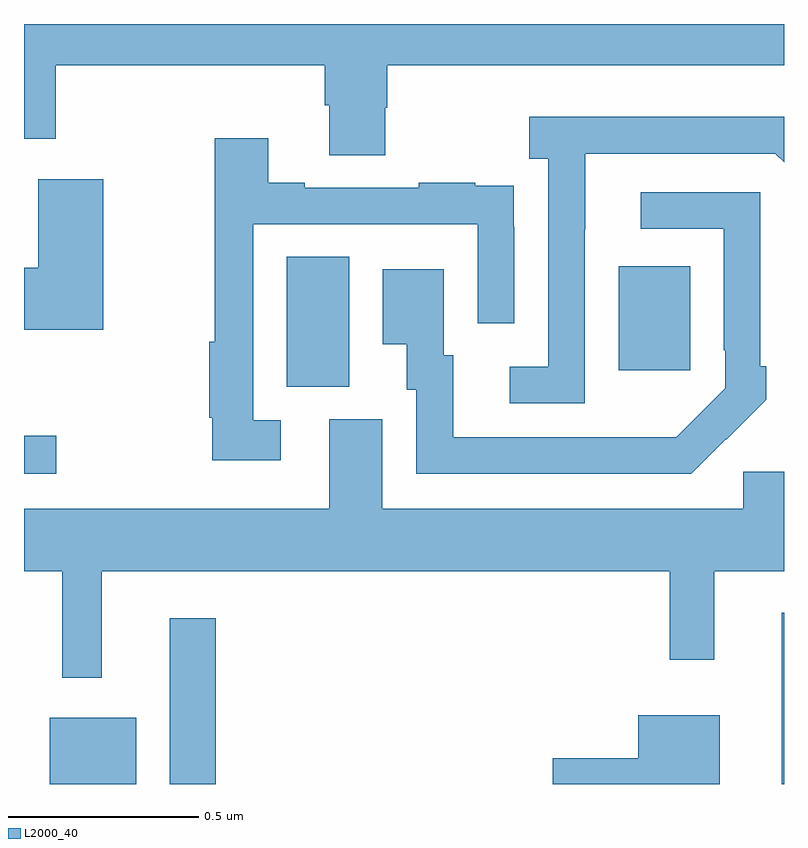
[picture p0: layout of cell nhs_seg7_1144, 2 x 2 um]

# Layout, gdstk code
import gdstk
lib = gdstk.Library(unit=1e-6, precision=1e-09)
def R(c, l, rs):  # rectangles x0, y0, x1, y1
    for r in rs: c.add(gdstk.rectangle(r[:2], r[2:], *l))
def P(c, l, *ps):  # polygons
    for p in ps: c.add(gdstk.Polygon(p, *l))
L2000_40 = (2000, 40)

nhs_seg7_1144 = lib.new_cell('nhs_seg7_1144')
R(nhs_seg7_1144, L2000_40, [(126.068,1056,126.295,1056.175), (126.383,1056,126.505,1056.436), (127.994,1056,128,1056.451), (126,1056.816,126.085,1056.917), (126.692,1057.045,126.856,1057.388), (127.565,1057.089,127.753,1057.363)])
P(nhs_seg7_1144, L2000_40, [(126.951,1057.779),(126.956,1057.779),(126.956,1057.892),(128,1057.892),(128,1058),(126,1058),(126,1057.698),(126.084,1057.698),(126.084,1057.892),(126.791,1057.892),(126.791,1057.786),(126.803,1057.786),(126.803,1057.654),(126.951,1057.654)],
  [(127.476,1057.459),(127.477,1057.459),(127.477,1057.659),(127.977,1057.659),(128,1057.636),(128,1057.756),(127.329,1057.756),(127.329,1057.646),(127.38,1057.646),(127.38,1057.098),(127.278,1057.098),(127.278,1057.002),(127.476,1057.002)],
  [(126.676,1056.957),(126.603,1056.957),(126.603,1057.473),(127.194,1057.473),(127.194,1057.212),(127.29,1057.212),(127.29,1057.466),(127.289,1057.466),(127.289,1057.575),(127.187,1057.575),(127.187,1057.582),(127.039,1057.582),(127.039,1057.569),(126.739,1057.569),(126.739,1057.582),(126.643,1057.582),(126.643,1057.699),(126.502,1057.699),(126.502,1057.164),(126.487,1057.164),(126.487,1056.964),(126.495,1056.964),(126.495,1056.852),(126.676,1056.852)],
  [(126.208,1057.591),(126.038,1057.591),(126.038,1057.359),(126,1057.359),(126,1057.196),(126.208,1057.196)],
  [(127.847,1056.907),(127.848,1056.906),(127.953,1057.011),(127.953,1057.099),(127.938,1057.099),(127.938,1057.557),(127.623,1057.557),(127.623,1057.461),(127.842,1057.461),(127.842,1057.141),(127.845,1057.141),(127.845,1057.041),(127.717,1056.913),(127.613,1056.913),(127.613,1056.912),(127.129,1056.912),(127.129,1057.128),(127.105,1057.128),(127.105,1057.354),(126.944,1057.354),(126.944,1057.157),(127.007,1057.157),(127.007,1057.038),(127.032,1057.038),(127.032,1056.816),(127.756,1056.816)],
  [(126.943,1056.96),(126.803,1056.96),(126.803,1056.724),(126,1056.724),(126,1056.56),(126.101,1056.56),(126.101,1056.279),(126.205,1056.279),(126.205,1056.56),(127.699,1056.56),(127.699,1056.327),(127.817,1056.327),(127.817,1056.56),(128,1056.56),(128,1056.822),(127.893,1056.822),(127.893,1056.724),(126.943,1056.724)],
  [(127.831,1056.181),(127.616,1056.181),(127.616,1056.068),(127.392,1056.068),(127.392,1056),(127.831,1056)])

lib.write_gds('nhs_seg7_1144.gds')
